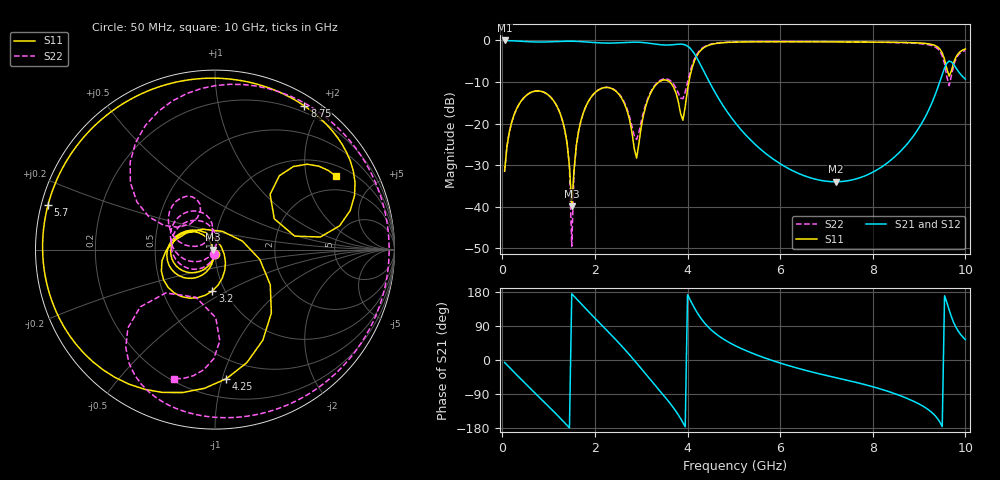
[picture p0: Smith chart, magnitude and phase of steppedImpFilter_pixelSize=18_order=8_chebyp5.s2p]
! freq	dB(S11)	phase(S11)	dB(S12)	phase(S12)
!  dB(S21)	phase(S21)	dB(S22)	phase(S22)
!S-par simulation data
#  GHz  S  DB  R 50
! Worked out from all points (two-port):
!   200 points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, 50 MHz to 10 GHz, reference 50 ohm
!   highest |S21| = -0.01 dB at 50 MHz (marker M1); lowest = -34.0 dB at 7.2 GHz (marker M2)
!   |S21| within 3 dB of the highest: start of sweep to 4.135 GHz
!   lowest |S11| = -39.9 dB at 1.5 GHz (marker M3), VSWR 1.02, Z = 49 - j0.0818 ohm
!   |S11| at or under -10 dB: start of sweep to 3.384 GHz; 3.614 GHz to 4.03 GHz (415.9 MHz wide, 10.9 % of centre)
!   |S22| runs from -49.4 to -0.3 dB; largest |S21 - S12| = 0
!   S11 on the Smith chart (normalised r, x): 50 MHz: 0.99, -0.05; 3.2 GHz: 0.87, -0.43; 4.25 GHz: 0.34, -1.03; 5.7 GHz: 0.02, +0.13; 8.75 GHz: 0.12, +1.79; 10 GHz: 1.38, +2.99
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0.05  -31.44 -95.6  -0.01 -6.4  -0.01 -6.4  -31.46 -96.9
0.35  -15.56 -130.0  -0.18 -44.0  -0.18 -44.0  -15.58 -139.0
1.05  -13.70 155.2  -0.33 -128.5  -0.33 -128.5  -13.70 128.0
1.4  -24.79 122.5  -0.21 -172.5  -0.21 -172.5  -24.84 81.1
1.45  -30.18 125.1  -0.20 -179.0  -0.20 -179.0  -30.45 75.5
1.5  -39.88 -175.3  -0.21 174.6  -0.21 174.6  -49.45 143.5
1.55  -31.01 -103.9  -0.22 168.1  -0.22 168.1  -31.63 -124.7
1.75  -17.40 -111.6  -0.32 142.2  -0.32 142.2  -17.43 -149.8
2.4  -11.78 174.6  -0.63 60.1  -0.63 60.1  -11.70 126.0
2.9  -28.28 21.8  -0.42 -8.1  -0.42 -8.1  -23.80 137.5
3.2  -12.74 -93.7  -0.73 -52.1  -0.73 -52.1  -12.47 162.8
3.4  -9.86 -125.4  -1.02 -81.0  -1.02 -81.0  -9.65 140.4
3.9  -19.18 68.3  -0.94 -165.1  -0.94 -165.1  -14.02 134.1
4.25  -2.83 -84.9  -5.19 117.0  -5.19 117.0  -2.58 126.5
5.05  -0.40 -165.1  -20.05 36.6  -20.05 36.6  -0.34 50.7
5.7  -0.33 165.0  -27.29 4.1  -27.29 4.1  -0.27 15.5
6.7  -0.34 129.4  -33.17 -32.1  -33.17 -32.1  -0.28 -25.5
7.2  -0.36 112.8  -33.97 -46.6  -33.97 -46.6  -0.32 -42.8
8.35  -0.44 73.5  -29.13 -83.6  -29.13 -83.6  -0.49 -79.2
8.75  -0.51 58.1  -24.80 -101.8  -24.80 -101.8  -0.62 -92.5
9.6  -6.93 9.6  -5.46 151.7  -5.46 151.7  -8.73 -138.7
10  -2.06 31.3  -9.28 53.8  -9.28 53.8  -2.43 -107.8
